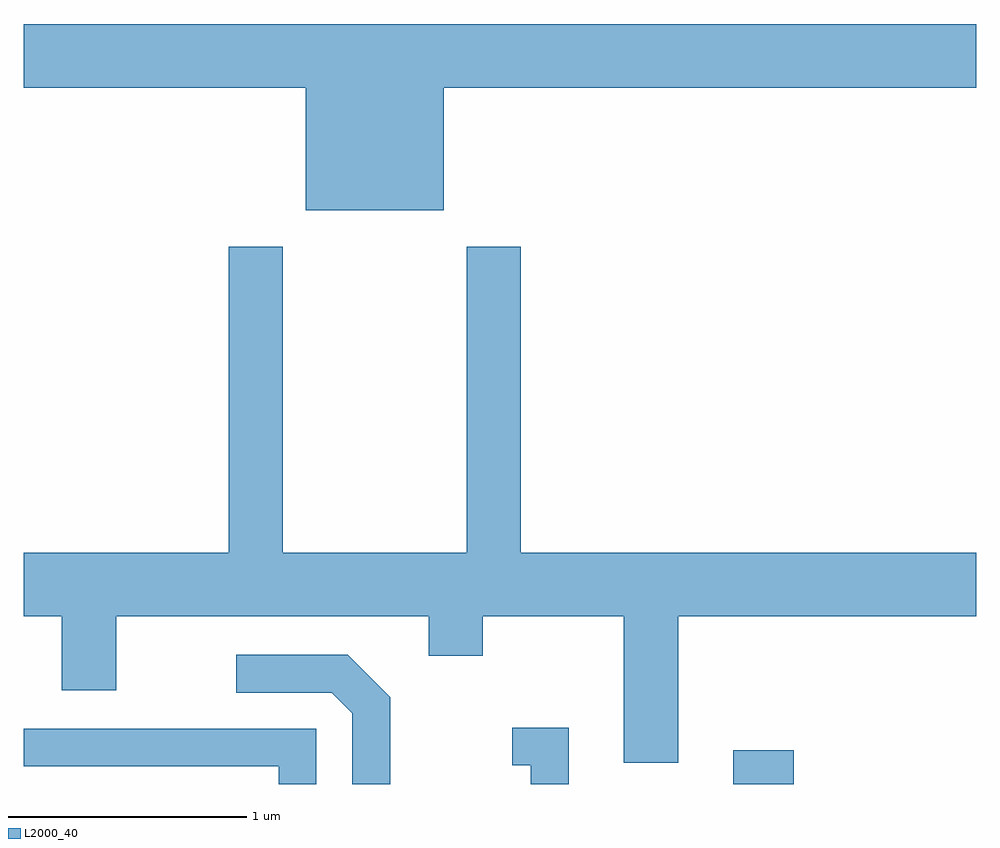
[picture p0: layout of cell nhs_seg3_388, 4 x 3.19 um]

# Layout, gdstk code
import gdstk
lib = gdstk.Library(unit=1e-6, precision=1e-09)
def R(c, l, rs):  # rectangles x0, y0, x1, y1
    for r in rs: c.add(gdstk.rectangle(r[:2], r[2:], *l))
def P(c, l, *ps):  # polygons
    for p in ps: c.add(gdstk.Polygon(p, *l))
L2000_40 = (2000, 40)

nhs_seg3_388 = lib.new_cell('nhs_seg3_388')
R(nhs_seg3_388, L2000_40, [(198.591,1211.892,198.844,1212.034)])
P(nhs_seg3_388, L2000_40, [(197.374,1214.816),(199.611,1214.816),(199.611,1215.084),(195.611,1215.084),(195.611,1214.816),(196.796,1214.816),(196.796,1214.301),(197.374,1214.301)],
  [(198.359,1212.596),(199.611,1212.596),(199.611,1212.864),(197.699,1212.864),(197.699,1214.149),(197.471,1214.149),(197.471,1212.864),(196.699,1212.864),(196.699,1214.149),(196.471,1214.149),(196.471,1212.864),(195.611,1212.864),(195.611,1212.596),(195.771,1212.596),(195.771,1212.286),(195.999,1212.286),(195.999,1212.596),(197.311,1212.596),(197.311,1212.431),(197.539,1212.431),(197.539,1212.596),(198.131,1212.596),(198.131,1211.981),(198.359,1211.981)],
  [(197.149,1212.257),(196.972,1212.434),(196.503,1212.434),(196.503,1212.276),(196.904,1212.276),(196.991,1212.189),(196.991,1211.892),(197.149,1211.892)],
  [(197.899,1212.129),(197.663,1212.129),(197.663,1211.971),(197.741,1211.971),(197.741,1211.892),(197.899,1211.892)],
  [(196.839,1212.124),(195.611,1212.124),(195.611,1211.966),(196.681,1211.966),(196.681,1211.892),(196.839,1211.892)])

lib.write_gds('nhs_seg3_388.gds')
